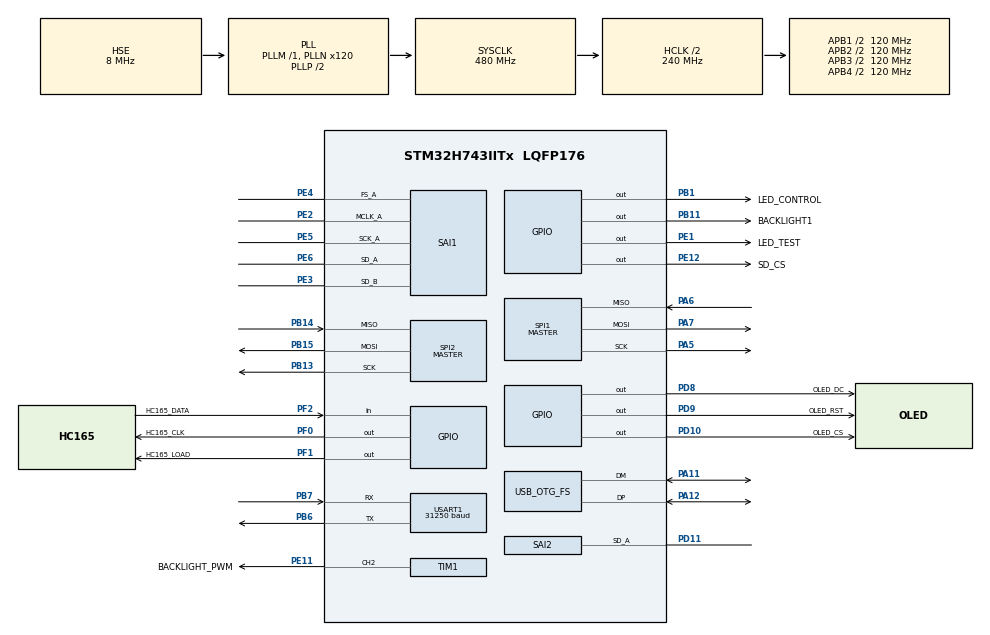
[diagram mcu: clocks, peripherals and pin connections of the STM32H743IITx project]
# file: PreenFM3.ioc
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CORTEX_M7.CPU_DCache=Enabled
CORTEX_M7.CPU_ICache=Enabled
DMA2D.ColorMode=DMA2D_OUTPUT_RGB565
DMA2D.InputAlphaForeground=0xffffff
DMA2D.InputColorModeBackground=DMA2D_INPUT_RGB565
DMA2D.InputColorModeForeground=DMA2D_INPUT_A8
DMA2D.Mode=DMA2D_M2M_BLEND
Dma.Request0=SPI1_TX
Dma.Request1=SAI1_A
Dma.Request2=SAI2_A
Dma.Request3=SAI1_B
Dma.Request4=USART1_RX
Dma.Request5=USART1_TX
Dma.SAI1_A.1.Direction=DMA_MEMORY_TO_PERIPH
Dma.SAI1_A.1.EventEnable=DISABLE
Dma.SAI1_A.1.FIFOMode=DMA_FIFOMODE_ENABLE
Dma.SAI1_A.1.FIFOThreshold=DMA_FIFO_THRESHOLD_1QUARTERFULL
Dma.SAI1_A.1.Instance=DMA1_Stream0
Dma.SAI1_A.1.MemBurst=DMA_MBURST_SINGLE
Dma.SAI1_A.1.MemDataAlignment=DMA_MDATAALIGN_WORD
Dma.SAI1_A.1.MemInc=DMA_MINC_ENABLE
Dma.SAI1_A.1.Mode=DMA_CIRCULAR
Dma.SAI1_A.1.PeriphBurst=DMA_PBURST_SINGLE
Dma.SAI1_A.1.PeriphDataAlignment=DMA_PDATAALIGN_WORD
Dma.SAI1_A.1.PeriphInc=DMA_PINC_DISABLE
Dma.SAI1_A.1.Polarity=HAL_DMAMUX_REQ_GEN_RISING
Dma.SAI1_A.1.Priority=DMA_PRIORITY_VERY_HIGH
Dma.SAI1_A.1.RequestNumber=1
Dma.SAI1_A.1.SignalID=NONE
Dma.SAI1_A.1.SyncEnable=DISABLE
Dma.SAI1_A.1.SyncPolarity=HAL_DMAMUX_SYNC_NO_EVENT
Dma.SAI1_A.1.SyncRequestNumber=1
Dma.SAI1_A.1.SyncSignalID=NONE
Dma.SAI1_B.3.Direction=DMA_MEMORY_TO_PERIPH
Dma.SAI1_B.3.EventEnable=DISABLE
Dma.SAI1_B.3.FIFOMode=DMA_FIFOMODE_ENABLE
Dma.SAI1_B.3.FIFOThreshold=DMA_FIFO_THRESHOLD_1QUARTERFULL
Dma.SAI1_B.3.Instance=DMA1_Stream1
Dma.SAI1_B.3.MemBurst=DMA_MBURST_SINGLE
Dma.SAI1_B.3.MemDataAlignment=DMA_MDATAALIGN_WORD
Dma.SAI1_B.3.MemInc=DMA_MINC_ENABLE
Dma.SAI1_B.3.Mode=DMA_CIRCULAR
Dma.SAI1_B.3.PeriphBurst=DMA_PBURST_SINGLE
Dma.SAI1_B.3.PeriphDataAlignment=DMA_PDATAALIGN_WORD
Dma.SAI1_B.3.PeriphInc=DMA_PINC_DISABLE
Dma.SAI1_B.3.Polarity=HAL_DMAMUX_REQ_GEN_RISING
Dma.SAI1_B.3.Priority=DMA_PRIORITY_VERY_HIGH
Dma.SAI1_B.3.RequestNumber=1
Dma.SAI1_B.3.SignalID=NONE
Dma.SAI1_B.3.SyncEnable=DISABLE
Dma.SAI1_B.3.SyncPolarity=HAL_DMAMUX_SYNC_NO_EVENT
Dma.SAI1_B.3.SyncRequestNumber=1
Dma.SAI1_B.3.SyncSignalID=NONE
Dma.SAI2_A.2.Direction=DMA_MEMORY_TO_PERIPH
Dma.SAI2_A.2.EventEnable=DISABLE
Dma.SAI2_A.2.FIFOMode=DMA_FIFOMODE_ENABLE
Dma.SAI2_A.2.FIFOThreshold=DMA_FIFO_THRESHOLD_1QUARTERFULL
Dma.SAI2_A.2.Instance=DMA1_Stream2
Dma.SAI2_A.2.MemBurst=DMA_MBURST_SINGLE
Dma.SAI2_A.2.MemDataAlignment=DMA_MDATAALIGN_WORD
Dma.SAI2_A.2.MemInc=DMA_MINC_ENABLE
Dma.SAI2_A.2.Mode=DMA_CIRCULAR
Dma.SAI2_A.2.PeriphBurst=DMA_PBURST_SINGLE
Dma.SAI2_A.2.PeriphDataAlignment=DMA_PDATAALIGN_WORD
Dma.SAI2_A.2.PeriphInc=DMA_PINC_DISABLE
Dma.SAI2_A.2.Polarity=HAL_DMAMUX_REQ_GEN_RISING
Dma.SAI2_A.2.Priority=DMA_PRIORITY_VERY_HIGH
Dma.SAI2_A.2.RequestNumber=1
Dma.SAI2_A.2.SignalID=NONE
Dma.SAI2_A.2.SyncEnable=DISABLE
Dma.SAI2_A.2.SyncPolarity=HAL_DMAMUX_SYNC_NO_EVENT
Dma.SAI2_A.2.SyncRequestNumber=1
Dma.SAI2_A.2.SyncSignalID=NONE
Dma.SPI1_TX.0.Direction=DMA_MEMORY_TO_PERIPH
Dma.SPI1_TX.0.EventEnable=DISABLE
Dma.SPI1_TX.0.FIFOMode=DMA_FIFOMODE_ENABLE
Dma.SPI1_TX.0.FIFOThreshold=DMA_FIFO_THRESHOLD_HALFFULL
Dma.SPI1_TX.0.Instance=DMA2_Stream0
Dma.SPI1_TX.0.MemBurst=DMA_MBURST_SINGLE
Dma.SPI1_TX.0.MemDataAlignment=DMA_MDATAALIGN_HALFWORD
Dma.SPI1_TX.0.MemInc=DMA_MINC_ENABLE
Dma.SPI1_TX.0.Mode=DMA_NORMAL
Dma.SPI1_TX.0.PeriphBurst=DMA_PBURST_SINGLE
Dma.SPI1_TX.0.PeriphDataAlignment=DMA_PDATAALIGN_HALFWORD
Dma.SPI1_TX.0.PeriphInc=DMA_PINC_DISABLE
Dma.SPI1_TX.0.Polarity=HAL_DMAMUX_REQ_GEN_RISING
Dma.SPI1_TX.0.Priority=DMA_PRIORITY_HIGH
Dma.SPI1_TX.0.RequestNumber=1
Dma.SPI1_TX.0.SignalID=NONE
Dma.SPI1_TX.0.SyncEnable=DISABLE
Dma.SPI1_TX.0.SyncPolarity=HAL_DMAMUX_SYNC_NO_EVENT
Dma.SPI1_TX.0.SyncRequestNumber=1
Dma.SPI1_TX.0.SyncSignalID=NONE
Dma.USART1_RX.4.Direction=DMA_PERIPH_TO_MEMORY
Dma.USART1_RX.4.EventEnable=DISABLE
Dma.USART1_RX.4.FIFOMode=DMA_FIFOMODE_DISABLE
Dma.USART1_RX.4.Instance=DMA1_Stream3
Dma.USART1_RX.4.MemDataAlignment=DMA_MDATAALIGN_BYTE
Dma.USART1_RX.4.MemInc=DMA_MINC_ENABLE
Dma.USART1_RX.4.Mode=DMA_NORMAL
Dma.USART1_RX.4.PeriphDataAlignment=DMA_PDATAALIGN_BYTE
Dma.USART1_RX.4.PeriphInc=DMA_PINC_DISABLE
Dma.USART1_RX.4.Polarity=HAL_DMAMUX_REQ_GEN_RISING
Dma.USART1_RX.4.Priority=DMA_PRIORITY_LOW
Dma.USART1_RX.4.RequestNumber=1
Dma.USART1_RX.4.SignalID=NONE
Dma.USART1_RX.4.SyncEnable=DISABLE
Dma.USART1_RX.4.SyncPolarity=HAL_DMAMUX_SYNC_NO_EVENT
Dma.USART1_RX.4.SyncRequestNumber=1
Dma.USART1_RX.4.SyncSignalID=NONE
Dma.USART1_TX.5.Direction=DMA_MEMORY_TO_PERIPH
Dma.USART1_TX.5.EventEnable=DISABLE
Dma.USART1_TX.5.FIFOMode=DMA_FIFOMODE_DISABLE
Dma.USART1_TX.5.Instance=DMA1_Stream4
Dma.USART1_TX.5.MemDataAlignment=DMA_MDATAALIGN_BYTE
Dma.USART1_TX.5.MemInc=DMA_MINC_ENABLE
Dma.USART1_TX.5.Mode=DMA_NORMAL
Dma.USART1_TX.5.PeriphDataAlignment=DMA_PDATAALIGN_BYTE
Dma.USART1_TX.5.PeriphInc=DMA_PINC_DISABLE
Dma.USART1_TX.5.Polarity=HAL_DMAMUX_REQ_GEN_RISING
Dma.USART1_TX.5.Priority=DMA_PRIORITY_LOW
Dma.USART1_TX.5.RequestNumber=1
Dma.USART1_TX.5.SignalID=NONE
Dma.USART1_TX.5.SyncEnable=DISABLE
Dma.USART1_TX.5.SyncPolarity=HAL_DMAMUX_SYNC_NO_EVENT
Dma.USART1_TX.5.SyncRequestNumber=1
Dma.USART1_TX.5.SyncSignalID=NONE
FREERTOS.INCLUDE_vTaskDelayUntil=1
FREERTOS.Tasks01=defaultTask,0,1024,StartDefaultTask,Default,NULL,Dynamic,NULL,NULL
FREERTOS.configCHECK_FOR_STACK_OVERFLOW=2
FREERTOS.configTOTAL_HEAP_SIZE=15360
FREERTOS.configUSE_MALLOC_FAILED_HOOK=1
FREERTOS.configUSE_MUTEXES=0
FREERTOS.configUSE_PREEMPTION=0
IWDG1.Prescaler=IWDG_PRESCALER_128
IWDG1.Reload=8*32000/128
IWDG1.Window=8*32000/128
Mcu.Family=STM32H7
Mcu.Name=STM32H743IITx
Mcu.Package=LQFP176
Mdma.MDMA_Channel0.Request0=SW
Mdma.MDMA_Channel0.RequestsNb=1
Mdma.MDMA_Channel0.SW.0.BlockCount=0
Mdma.MDMA_Channel0.SW.0.BlockDataLength=0
Mdma.MDMA_Channel0.SW.0.BufferTransferLength=1
Mdma.MDMA_Channel0.SW.0.CircularMode=MDMA_LINEAR_LIST
Mdma.MDMA_Channel0.SW.0.DataAlignment=MDMA_DATAALIGN_PACKENABLE
Mdma.MDMA_Channel0.SW.0.DestBlockAddressOffset=0
Mdma.MDMA_Channel0.SW.0.DestBurst=MDMA_DEST_BURST_SINGLE
Mdma.MDMA_Channel0.SW.0.DestDataSize=MDMA_DEST_DATASIZE_BYTE
Mdma.MDMA_Channel0.SW.0.DestinationInc=MDMA_DEST_INC_BYTE
Mdma.MDMA_Channel0.SW.0.DstAddress=0
Mdma.MDMA_Channel0.SW.0.Endianness=MDMA_LITTLE_ENDIANNESS_PRESERVE
Mdma.MDMA_Channel0.SW.0.Instance=MDMA_Channel0
Mdma.MDMA_Channel0.SW.0.MaskAddress=0
Mdma.MDMA_Channel0.SW.0.MaskData=0
Mdma.MDMA_Channel0.SW.0.Priority=MDMA_PRIORITY_LOW
Mdma.MDMA_Channel0.SW.0.Rank=First
Mdma.MDMA_Channel0.SW.0.SourceBlockAddressOffset=0
Mdma.MDMA_Channel0.SW.0.SourceBurst=MDMA_SOURCE_BURST_SINGLE
Mdma.MDMA_Channel0.SW.0.SourceDataSize=MDMA_SRC_DATASIZE_BYTE
Mdma.MDMA_Channel0.SW.0.SourceInc=MDMA_SRC_INC_BYTE
Mdma.MDMA_Channel0.SW.0.SrcAddress=0
Mdma.MDMA_Channel0.SW.0.TransferTriggerMode=MDMA_BUFFER_TRANSFER
Mdma.RequestSet0=MDMA_Channel0
Mdma.RequestSetsNb=1
NVIC.DMA1_Stream0_IRQn=true\:5\:0\:true\:false\:true\:true\:false\:true
NVIC.DMA1_Stream1_IRQn=true\:5\:0\:true\:false\:true\:true\:false\:true
NVIC.DMA1_Stream2_IRQn=true\:5\:0\:true\:false\:true\:true\:false\:true
NVIC.DMA1_Stream3_IRQn=true\:5\:0\:false\:false\:true\:true\:false\:true
NVIC.DMA1_Stream4_IRQn=true\:5\:0\:false\:false\:true\:true\:false\:true
NVIC.DMA2_Stream0_IRQn=true\:5\:0\:true\:false\:true\:true\:false\:true
NVIC.OTG_FS_IRQn=true\:5\:0\:true\:false\:true\:true\:true\:true
NVIC.PriorityGroup=NVIC_PRIORITYGROUP_4
NVIC.SPI1_IRQn=true\:8\:0\:true\:false\:true\:true\:false\:true
NVIC.USART1_IRQn=true\:5\:0\:false\:false\:true\:true\:true\:true
PA11.Mode=Device_Only
PA11.Signal=USB_OTG_FS_DM
PA12.Mode=Device_Only
PA12.Signal=USB_OTG_FS_DP
PA13\ (JTMS/SWDIO).Mode=JTAG_5_pins
PA13\ (JTMS/SWDIO).Signal=DEBUG_JTMS-SWDIO
PA14\ (JTCK/SWCLK).Mode=JTAG_5_pins
PA14\ (JTCK/SWCLK).Signal=DEBUG_JTCK-SWCLK
PA15\ (JTDI).Mode=JTAG_5_pins
PA15\ (JTDI).Signal=DEBUG_JTDI
PA5.GPIO_Speed=GPIO_SPEED_FREQ_VERY_HIGH
PA5.Mode=Full_Duplex_Master
PA5.Signal=SPI1_SCK
PA6.GPIO_Speed=GPIO_SPEED_FREQ_VERY_HIGH
PA6.Mode=Full_Duplex_Master
PA6.Signal=SPI1_MISO
PA7.GPIO_Speed=GPIO_SPEED_FREQ_VERY_HIGH
PA7.Mode=Full_Duplex_Master
PA7.Signal=SPI1_MOSI
PB1.GPIO_Label=LED_CONTROL
PB1.Signal=GPIO_Output
PB11.GPIO_Label=BACKLIGHT1
PB11.GPIO_PuPd=GPIO_NOPULL
PB11.Signal=GPIO_Output
PB13.Mode=Full_Duplex_Master
PB13.Signal=SPI2_SCK
PB14.Mode=Full_Duplex_Master
PB14.Signal=SPI2_MISO
PB15.Mode=Full_Duplex_Master
PB15.Signal=SPI2_MOSI
PB3\ (JTDO/TRACESWO).Mode=JTAG_5_pins
PB3\ (JTDO/TRACESWO).Signal=DEBUG_JTDO-SWO
PB4\ (NJTRST).Mode=JTAG_5_pins
PB4\ (NJTRST).Signal=DEBUG_JTRST
PB6.Mode=Asynchronous
PB6.Signal=USART1_TX
PB7.Mode=Asynchronous
PB7.Signal=USART1_RX
PD10.GPIO_Label=OLED_CS
PD10.GPIO_Speed=GPIO_SPEED_FREQ_MEDIUM
PD10.Signal=GPIO_Output
PD11.GPIO_Speed=GPIO_SPEED_FREQ_MEDIUM
PD11.Mode=SAI_A_SyncSlave
PD11.Signal=SAI2_SD_A
PD8.GPIO_Label=OLED_DC
PD8.GPIO_Speed=GPIO_SPEED_FREQ_MEDIUM
PD8.Signal=GPIO_Output
PD9.GPIO_Label=OLED_RST
PD9.GPIO_Speed=GPIO_SPEED_FREQ_MEDIUM
PD9.PinState=GPIO_PIN_SET
PD9.Signal=GPIO_Output
PE1.GPIO_Label=LED_TEST
PE1.GPIO_Speed=GPIO_SPEED_FREQ_VERY_HIGH
PE1.Signal=GPIO_Output
PE11.GPIO_Label=BACKLIGHT_PWM
PE11.Signal=S_TIM1_CH2
PE12.GPIO_Label=SD_CS
PE12.GPIO_Speed=GPIO_SPEED_FREQ_VERY_HIGH
PE12.Signal=GPIO_Output
PE2.GPIO_Speed=GPIO_SPEED_FREQ_MEDIUM
PE2.Mode=SAI_A_MasterWithClock
PE2.Signal=SAI1_MCLK_A
PE3.GPIO_Speed=GPIO_SPEED_FREQ_MEDIUM
PE3.Mode=SAI_B_SyncSlave
PE3.Signal=SAI1_SD_B
PE4.GPIO_Speed=GPIO_SPEED_FREQ_MEDIUM
PE4.Mode=SAI_A_MasterWithClock
PE4.Signal=SAI1_FS_A
PE5.GPIO_Speed=GPIO_SPEED_FREQ_MEDIUM
PE5.Mode=SAI_A_MasterWithClock
PE5.Signal=SAI1_SCK_A
PE6.GPIO_Speed=GPIO_SPEED_FREQ_MEDIUM
PE6.Mode=SAI_A_MasterWithClock
PE6.Signal=SAI1_SD_A
PF0.GPIO_Label=HC165_CLK
PF0.GPIO_Speed=GPIO_SPEED_FREQ_MEDIUM
PF0.Signal=GPIO_Output
PF1.GPIO_Label=HC165_LOAD
PF1.GPIO_Speed=GPIO_SPEED_FREQ_MEDIUM
PF1.Signal=GPIO_Output
PF2.GPIO_Label=HC165_DATA
PF2.Signal=GPIO_Input
PH0-OSC_IN\ (PH0).Mode=HSE-External-Oscillator
PH0-OSC_IN\ (PH0).Signal=RCC_OSC_IN
PH1-OSC_OUT\ (PH1).Mode=HSE-External-Oscillator
PH1-OSC_OUT\ (PH1).Signal=RCC_OSC_OUT
ProjectManager.HeapSize=0x200
ProjectManager.StackSize=0x400
ProjectManager.TargetToolchain=Makefile
RCC.ADCFreq_Value=80000000
RCC.APB1Freq_Value=120000000
RCC.APB2Freq_Value=120000000
RCC.APB3Freq_Value=120000000
RCC.APB4Freq_Value=120000000
RCC.CortexFreq_Value=480000000
RCC.D1PPRE=RCC_APB3_DIV2
RCC.D2PPRE1=RCC_APB1_DIV2
RCC.D2PPRE2=RCC_APB2_DIV2
RCC.D3PPRE=RCC_APB4_DIV2
RCC.DIVM1=1
RCC.DIVM2=1
RCC.DIVM3=1
RCC.DIVN1=120
RCC.DIVN2=40
RCC.DIVN3=46
RCC.DIVP2=4
RCC.DIVP3=3
RCC.DIVQ2=40
RCC.HCLKFreq_Value=240000000
RCC.HPRE=RCC_HCLK_DIV2
RCC.HSE_VALUE=8000000
RCC.PLL2FRACN=0
RCC.PLL3FRACN=0
RCC.PLLSourceVirtual=RCC_PLLSOURCE_HSE
RCC.SAI1CLockSelection=RCC_SAI1CLKSOURCE_PLL3
RCC.SAI23CLockSelection=RCC_SAI23CLKSOURCE_PLL3
RCC.SPI123CLockSelection=RCC_SPI123CLKSOURCE_PLL3
RCC.SYSCLKFreq_VALUE=480000000
RCC.SYSCLKSource=RCC_SYSCLKSOURCE_PLLCLK
RCC.USART16CLockSelection=RCC_USART16CLKSOURCE_PLL2
RCC.USBCLockSelection=RCC_USBCLKSOURCE_HSI48
RCC.USBFreq_Value=48000000
SAI1.AudioFrequency-SAI_A_MasterWithClock=SAI_AUDIO_FREQUENCY_48K
SAI1.AudioMode-SAI_B_SyncSlave=SAI_MODESLAVE_TX
SAI1.BasicDataSize-SAI_A_MasterWithClock=SAI_PROTOCOL_DATASIZE_24BIT
SAI1.BasicDataSize-SAI_B_SyncSlave=SAI_PROTOCOL_DATASIZE_24BIT
SAI1.ErrorAudioFreq-SAI_A_MasterWithClock=-0.17 %
SAI1.FIFOThreshold-SAI_A_MasterWithClock=SAI_FIFOTHRESHOLD_1QF
SAI1.FIFOThreshold-SAI_B_SyncSlave=SAI_FIFOTHRESHOLD_1QF
SAI1.InitProtocol-SAI_A_MasterWithClock=Enable
SAI1.InitProtocol-SAI_B_SyncSlave=Enable
SAI1.Instance-SAI_A_MasterWithClock=SAI$Index_Block_A
SAI1.Instance-SAI_B_SyncSlave=SAI$Index_Block_B
SAI1.MClockEnable=SAI_MASTERCLOCK_ENABLE
SAI1.MClockEnable-SAI_A_MasterWithClock=SAI_MASTERCLOCK_ENABLE
SAI1.NoDivider-SAI_A_MasterWithClock=SAI_MASTERDIVIDER_ENABLE
SAI1.RealAudioFreq-SAI_A_MasterWithClock=47.916 KHz
SAI1.SynchroExt=SAI_SYNCEXT_OUTBLOCKA_ENABLE
SAI1.VirtualMode-SAI_A_MasterWithClock=VM_MASTER
SAI1.VirtualMode-SAI_B_SyncSlave=VM_SLAVE
SAI1.VirtualProtocol-SAI_A_BASIC=VM_BASIC_PROTOCOL
SAI1.VirtualProtocol-SAI_B_BASIC=VM_BASIC_PROTOCOL
SAI2.AudioMode-SAI_A_SyncSlave=SAI_MODESLAVE_TX
SAI2.BasicDataSize-SAI_A_SyncSlave=SAI_PROTOCOL_DATASIZE_24BIT
SAI2.FIFOThreshold-SAI_A_SyncSlave=SAI_FIFOTHRESHOLD_1QF
SAI2.InitProtocol-SAI_A_SyncSlave=Enable
SAI2.Instance-SAI_A_SyncSlave=SAI$Index_Block_A
SAI2.Synchro_A=SAI_SYNCHRONOUS_EXT_SAI1
SAI2.VirtualMode-SAI_A_SyncSlave=VM_SLAVE
SAI2.VirtualProtocol-SAI_A_BASIC=VM_BASIC_PROTOCOL
SH.S_TIM1_CH2.0=TIM1_CH2,PWM Generation2 CH2
SPI1.BaudRatePrescaler=SPI_BAUDRATEPRESCALER_2
SPI1.CalculateBaudRate=61.333332 MBits/s
SPI1.DataSize=SPI_DATASIZE_8BIT
SPI1.Direction=SPI_DIRECTION_2LINES
SPI1.Mode=SPI_MODE_MASTER
SPI1.VirtualType=VM_MASTER
SPI2.BaudRatePrescaler=SPI_BAUDRATEPRESCALER_4
SPI2.CLKPhase=SPI_PHASE_2EDGE
SPI2.CalculateBaudRate=30.666666 MBits/s
SPI2.DataSize=SPI_DATASIZE_8BIT
SPI2.Direction=SPI_DIRECTION_2LINES
SPI2.Mode=SPI_MODE_MASTER
SPI2.NSSPMode=SPI_NSS_PULSE_DISABLE
SPI2.VirtualType=VM_MASTER
TIM1.Channel-PWM\ Generation2\ CH2=TIM_CHANNEL_2
TIM1.ClockDivision=TIM_CLOCKDIVISION_DIV1
TIM1.Period=100
TIM1.Prescaler=240
TIM1.Pulse-PWM\ Generation2\ CH2=50
USART1.BaudRate=31250
USART1.DMADisableonRxErrorParam=ADVFEATURE_DMA_DISABLEONRXERROR
USART1.OverrunDisableParam=ADVFEATURE_OVERRUN_DISABLE
USART1.VirtualMode-Asynchronous=VM_ASYNC
USB_OTG_FS.VirtualMode=Device_Only
VP_DMA2D_VS_DMA2D.Mode=DMA2D_Activate
VP_FREERTOS_VS_CMSIS_V1.Mode=CMSIS_V1
VP_IWDG1_VS_IWDG.Mode=IWDG_Activate
VP_SAI1_VP_$IpInstance_SAIA_SAI_BASIC.Mode=SAI_A_BASIC
VP_SAI1_VP_$IpInstance_SAIB_SAI_BASIC.Mode=SAI_B_BASIC
VP_SAI1_VP_$IpInstance_SYNCHRO_EXTERNAL.Mode=SynchroExternal
VP_SAI2_VP_$IpInstance_SAIA_SAI_BASIC.Mode=SAI_A_BASIC
board=custom

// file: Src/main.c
/* USER CODE BEGIN Header */
/**
  ******************************************************************************
  * @file           : main.c
  * @brief          : Main program body
  ******************************************************************************
  * @attention
  *
  * <h2><center>&copy; Copyright (c) 2020 STMicroelectronics.
  * All rights reserved.</center></h2>
  *
  * This software component is licensed by ST under Ultimate Liberty license
  * SLA0044, the "License"; You may not use this file except in compliance with
  * the License. You may obtain a copy of the License at:
  *                             www.st.com/SLA0044
  *
  ******************************************************************************
  */
/* USER CODE END Header */
#include "main.h"
#include "cmsis_os.h"

/* USER CODE BEGIN Includes */
#include "device.h"
#include "errorhandlers.h"
#include "usb_device.h"
/* USER CODE END Includes */

DMA2D_HandleTypeDef hdma2d;

IWDG_HandleTypeDef hiwdg1;

SAI_HandleTypeDef hsai_BlockA1;
SAI_HandleTypeDef hsai_BlockB1;
SAI_HandleTypeDef hsai_BlockA2;
DMA_HandleTypeDef hdma_sai1_a;
DMA_HandleTypeDef hdma_sai1_b;
DMA_HandleTypeDef hdma_sai2_a;

SPI_HandleTypeDef hspi1;
SPI_HandleTypeDef hspi2;
DMA_HandleTypeDef hdma_spi1_tx;

TIM_HandleTypeDef htim1;

UART_HandleTypeDef huart1;
DMA_HandleTypeDef hdma_usart1_rx;
DMA_HandleTypeDef hdma_usart1_tx;

extern PCD_HandleTypeDef hpcd_USB_OTG_FS;

MDMA_HandleTypeDef hmdma_mdma_channel40_sw_0;
osThreadId defaultTaskHandle;

void SystemClock_Config(void);
void PeriphCommonClock_Config(void);
static void MX_GPIO_Init(void);
static void MX_DMA_Init(void);
static void MX_MDMA_Init(void);
static void MX_DMA2D_Init(void);
static void MX_SAI1_Init(void);
static void MX_SAI2_Init(void);
static void MX_SPI1_Init(void);
static void MX_SPI2_Init(void);
static void MX_USART1_UART_Init(void);
static void MX_IWDG1_Init(void);
static void MX_USB_OTG_FS_PCD_Init(void);
static void MX_TIM1_Init(void);
void StartDefaultTask(void const * argument);

/* USER CODE BEGIN PFP */
void setup(void);
void loop(void);
void initialise_monitor_handles(void);

/* USER CODE END PFP */

/* USER CODE BEGIN 0 */
void MPU_Config(void){
  /* Disable the MPU */
  HAL_MPU_Disable();

#if defined USE_ICACHE || defined USE_DCACHE
  MPU_Region_InitTypeDef MPU_InitStruct;

  // AXISRAM D1 (+RAM) - write back with no write allocate, execute
  extern char _PLUSRAM;
  MPU_InitStruct.Enable           = MPU_REGION_ENABLE;
  MPU_InitStruct.BaseAddress      = (uint32_t)&_PLUSRAM ;
  MPU_InitStruct.Size             = MPU_REGION_SIZE_512KB;
  MPU_InitStruct.AccessPermission = MPU_REGION_FULL_ACCESS;
  MPU_InitStruct.IsBufferable     = MPU_ACCESS_BUFFERABLE;
  MPU_InitStruct.IsCacheable      = MPU_ACCESS_CACHEABLE;
  MPU_InitStruct.IsShareable      = MPU_ACCESS_NOT_SHAREABLE;
  MPU_InitStruct.Number           = MPU_REGION_NUMBER0;
  MPU_InitStruct.TypeExtField     = MPU_TEX_LEVEL0;
  MPU_InitStruct.SubRegionDisable = 0x00;
  MPU_InitStruct.DisableExec      = MPU_INSTRUCTION_ACCESS_ENABLE;
  HAL_MPU_ConfigRegion(&MPU_InitStruct);

  // D2 DMA buffers - cache off, no execute
  extern char _DMA_DATA;
  MPU_InitStruct.Enable           = MPU_REGION_ENABLE;
  MPU_InitStruct.BaseAddress      = (uint32_t)&_DMA_DATA;
  MPU_InitStruct.Size             = MPU_REGION_SIZE_16KB;
  MPU_InitStruct.AccessPermission = MPU_REGION_FULL_ACCESS;
  MPU_InitStruct.IsBufferable     = MPU_ACCESS_NOT_BUFFERABLE;
  MPU_InitStruct.IsCacheable      = MPU_ACCESS_NOT_CACHEABLE;
  MPU_InitStruct.IsShareable      = MPU_ACCESS_SHAREABLE;
  MPU_InitStruct.Number           = MPU_REGION_NUMBER1;
  MPU_InitStruct.TypeExtField     = MPU_TEX_LEVEL1;
  MPU_InitStruct.SubRegionDisable = 0x00;
  MPU_InitStruct.DisableExec      = MPU_INSTRUCTION_ACCESS_DISABLE;
  HAL_MPU_ConfigRegion(&MPU_InitStruct);

  extern char _GRAPHICS;
  MPU_InitStruct.Enable           = MPU_REGION_ENABLE;
  MPU_InitStruct.BaseAddress      = (uint32_t)&_GRAPHICS;
  MPU_InitStruct.Size             = MPU_REGION_SIZE_128KB;
  MPU_InitStruct.AccessPermission = MPU_REGION_FULL_ACCESS;
  MPU_InitStruct.IsBufferable     = MPU_ACCESS_NOT_BUFFERABLE;
  MPU_InitStruct.IsCacheable      = MPU_ACCESS_NOT_CACHEABLE;
  MPU_InitStruct.IsShareable      = MPU_ACCESS_SHAREABLE;
  MPU_InitStruct.Number           = MPU_REGION_NUMBER2;
  MPU_InitStruct.TypeExtField     = MPU_TEX_LEVEL1;
  MPU_InitStruct.SubRegionDisable = 0b10000000; // 110KB is sufficient
  MPU_InitStruct.DisableExec      = MPU_INSTRUCTION_ACCESS_DISABLE;
  HAL_MPU_ConfigRegion(&MPU_InitStruct);

#endif /* USE_ICACHE || USE_DCACHE */

  /* Enable the MPU */
  HAL_MPU_Enable(MPU_PRIVILEGED_DEFAULT);
}
/* USER CODE END 0 */

int main(void)
{
  /* USER CODE BEGIN 1 */

#ifdef DEBUG
#warning "DEBUG uses printf and semihosting!"
  if(CoreDebug->DHCSR & 0x01)
    initialise_monitor_handles(); // remove when not semi-hosting
  printf("showtime\n");
#endif
#ifdef USE_ICACHE
  /* Enable I-Cache-------------------------------------------------------------*/
  /* After reset, you must invalidate each cache before enabling (SCB_EnableICache) it. */
  SCB_EnableICache();
#endif
#ifdef USE_DCACHE
  /* Enable D-Cache-------------------------------------------------------------*/
  /* Before enabling the data cache, you must invalidate the entire data cache (SCB_InvalidateDCache), because external memory might have changed from when the cache was disabled. */
  SCB_EnableDCache();
#endif

  /* Enable D2 domain SRAM Clocks */
  __HAL_RCC_D2SRAM1_CLK_ENABLE();
  __HAL_RCC_D2SRAM2_CLK_ENABLE();
  __HAL_RCC_D2SRAM3_CLK_ENABLE();

#if 0
  /* USER CODE END 1 */

  /* Enable I-Cache---------------------------------------------------------*/
  SCB_EnableICache();

  /* Enable D-Cache---------------------------------------------------------*/
  SCB_EnableDCache();

  /* MCU Configuration--------------------------------------------------------*/

  /* Reset of all peripherals, Initializes the Flash interface and the Systick. */
  HAL_Init();

  /* USER CODE BEGIN Init */
#endif
  HAL_Init();
  /* USER CODE END Init */

  /* USER CODE BEGIN SysInit */

  /* Configure the system clock */
  SystemClock_Config();
  PeriphCommonClock_Config();

  /* MPU Configuration--------------------------------------------------------*/
  MPU_Config();

  /* USER CODE END SysInit */

  /* Initialize all configured peripherals */
  MX_GPIO_Init();
  MX_DMA_Init();
  MX_DMA2D_Init();
  MX_SAI1_Init();
  MX_SAI2_Init();
  MX_SPI1_Init();
  MX_SPI2_Init();
  MX_USART1_UART_Init();
  MX_IWDG1_Init();
  MX_USB_OTG_FS_PCD_Init();
  MX_TIM1_Init();

  /* Create the thread(s) */
  /* definition and creation of defaultTask */
  osThreadDef(defaultTask, StartDefaultTask, osPriorityNormal, 0, 1024);
  defaultTaskHandle = osThreadCreate(osThread(defaultTask), NULL);

  /* Start scheduler */
  osKernelStart();

  /* We should never get here as control is now taken by the scheduler */
  /* Infinite loop */
  while (1)
  {

  }
}

void SystemClock_Config(void)
{
  RCC_OscInitTypeDef RCC_OscInitStruct = {0};
  RCC_ClkInitTypeDef RCC_ClkInitStruct = {0};

  /** Supply configuration update enable
  */
  HAL_PWREx_ConfigSupply(PWR_LDO_SUPPLY);
  /** Configure the main internal regulator output voltage
  */
  __HAL_PWR_VOLTAGESCALING_CONFIG(PWR_REGULATOR_VOLTAGE_SCALE0);

  while(!__HAL_PWR_GET_FLAG(PWR_FLAG_VOSRDY)) {}
  /** Macro to configure the PLL clock source
  */
  __HAL_RCC_PLL_PLLSOURCE_CONFIG(RCC_PLLSOURCE_HSE);
  /** Initializes the RCC Oscillators according to the specified parameters
  * in the RCC_OscInitTypeDef structure.
  */
  RCC_OscInitStruct.OscillatorType = RCC_OSCILLATORTYPE_HSI48|RCC_OSCILLATORTYPE_LSI
                              |RCC_OSCILLATORTYPE_HSE;
  RCC_OscInitStruct.HSEState = RCC_HSE_ON;
  RCC_OscInitStruct.LSIState = RCC_LSI_ON;
  RCC_OscInitStruct.HSI48State = RCC_HSI48_ON;
  RCC_OscInitStruct.PLL.PLLState = RCC_PLL_ON;
  RCC_OscInitStruct.PLL.PLLSource = RCC_PLLSOURCE_HSE;
  RCC_OscInitStruct.PLL.PLLM = 1;
  RCC_OscInitStruct.PLL.PLLN = 120;
  RCC_OscInitStruct.PLL.PLLP = 2;
  RCC_OscInitStruct.PLL.PLLQ = 2;
  RCC_OscInitStruct.PLL.PLLR = 2;
  RCC_OscInitStruct.PLL.PLLRGE = RCC_PLL1VCIRANGE_3;
  RCC_OscInitStruct.PLL.PLLVCOSEL = RCC_PLL1VCOWIDE;
  RCC_OscInitStruct.PLL.PLLFRACN = 0;
  if (HAL_RCC_OscConfig(&RCC_OscInitStruct) != HAL_OK)
  {
    Error_Handler();
  }
  /** Initializes the CPU, AHB and APB buses clocks
  */
  RCC_ClkInitStruct.ClockType = RCC_CLOCKTYPE_HCLK|RCC_CLOCKTYPE_SYSCLK
                              |RCC_CLOCKTYPE_PCLK1|RCC_CLOCKTYPE_PCLK2
                              |RCC_CLOCKTYPE_D3PCLK1|RCC_CLOCKTYPE_D1PCLK1;
  RCC_ClkInitStruct.SYSCLKSource = RCC_SYSCLKSOURCE_PLLCLK;
  RCC_ClkInitStruct.SYSCLKDivider = RCC_SYSCLK_DIV1;
  RCC_ClkInitStruct.AHBCLKDivider = RCC_HCLK_DIV2;
  RCC_ClkInitStruct.APB3CLKDivider = RCC_APB3_DIV2;
  RCC_ClkInitStruct.APB1CLKDivider = RCC_APB1_DIV2;
  RCC_ClkInitStruct.APB2CLKDivider = RCC_APB2_DIV2;
  RCC_ClkInitStruct.APB4CLKDivider = RCC_APB4_DIV2;

  if (HAL_RCC_ClockConfig(&RCC_ClkInitStruct, FLASH_LATENCY_4) != HAL_OK)
  {
    Error_Handler();
  }
}

void PeriphCommonClock_Config(void)
{
  RCC_PeriphCLKInitTypeDef PeriphClkInitStruct = {0};

  /** Initializes the peripherals clock
  */
  PeriphClkInitStruct.PeriphClockSelection = RCC_PERIPHCLK_SAI1|RCC_PERIPHCLK_SAI2
                              |RCC_PERIPHCLK_SPI2|RCC_PERIPHCLK_SPI1;
  PeriphClkInitStruct.PLL3.PLL3M = 1;
  PeriphClkInitStruct.PLL3.PLL3N = 46;
  PeriphClkInitStruct.PLL3.PLL3P = 3;
  PeriphClkInitStruct.PLL3.PLL3Q = 2;
  PeriphClkInitStruct.PLL3.PLL3R = 2;
  PeriphClkInitStruct.PLL3.PLL3RGE = RCC_PLL3VCIRANGE_3;
  PeriphClkInitStruct.PLL3.PLL3VCOSEL = RCC_PLL3VCOWIDE;
  PeriphClkInitStruct.PLL3.PLL3FRACN = 0;
  PeriphClkInitStruct.Sai1ClockSelection = RCC_SAI1CLKSOURCE_PLL3;
  PeriphClkInitStruct.Sai23ClockSelection = RCC_SAI23CLKSOURCE_PLL3;
  PeriphClkInitStruct.Spi123ClockSelection = RCC_SPI123CLKSOURCE_PLL3;
  if (HAL_RCCEx_PeriphCLKConfig(&PeriphClkInitStruct) != HAL_OK)
  {
    Error_Handler();
  }
}

static void MX_DMA2D_Init(void)
{

  hdma2d.Instance = DMA2D;
  hdma2d.Init.Mode = DMA2D_M2M_BLEND;
  hdma2d.Init.ColorMode = DMA2D_OUTPUT_RGB565;
  hdma2d.Init.OutputOffset = 0;
  hdma2d.LayerCfg[1].InputOffset = 0;
  hdma2d.LayerCfg[1].InputColorMode = DMA2D_INPUT_A8;
  hdma2d.LayerCfg[1].AlphaMode = DMA2D_NO_MODIF_ALPHA;
  hdma2d.LayerCfg[1].InputAlpha = 0xffffff;
  hdma2d.LayerCfg[1].AlphaInverted = DMA2D_REGULAR_ALPHA;
  hdma2d.LayerCfg[1].RedBlueSwap = DMA2D_RB_REGULAR;
  hdma2d.LayerCfg[1].ChromaSubSampling = DMA2D_NO_CSS;
  hdma2d.LayerCfg[0].InputOffset = 0;
  hdma2d.LayerCfg[0].InputColorMode = DMA2D_INPUT_RGB565;
  hdma2d.LayerCfg[0].AlphaMode = DMA2D_NO_MODIF_ALPHA;
  hdma2d.LayerCfg[0].InputAlpha = 0;
  hdma2d.LayerCfg[0].AlphaInverted = DMA2D_REGULAR_ALPHA;
  hdma2d.LayerCfg[0].RedBlueSwap = DMA2D_RB_REGULAR;
  if (HAL_DMA2D_Init(&hdma2d) != HAL_OK)
  {
    Error_Handler();
  }
  if (HAL_DMA2D_ConfigLayer(&hdma2d, 0) != HAL_OK)
  {
    Error_Handler();
  }
  if (HAL_DMA2D_ConfigLayer(&hdma2d, 1) != HAL_OK)
  {
    Error_Handler();
  }

}

static void MX_IWDG1_Init(void)
{

  /* USER CODE BEGIN IWDG1_Init 0 */
#ifdef USE_IWDG
  /* USER CODE END IWDG1_Init 0 */

  hiwdg1.Instance = IWDG1;
  hiwdg1.Init.Prescaler = IWDG_PRESCALER_128;
  hiwdg1.Init.Window = 8*32000/128;
  hiwdg1.Init.Reload = 8*32000/128;
  if (HAL_IWDG_Init(&hiwdg1) != HAL_OK)
  {
    Error_Handler();
  }
  /* USER CODE BEGIN IWDG1_Init 2 */
#endif
  /* USER CODE END IWDG1_Init 2 */

}

static void MX_SAI1_Init(void)
{

  hsai_BlockA1.Instance = SAI1_Block_A;
  hsai_BlockA1.Init.AudioMode = SAI_MODEMASTER_TX;
  hsai_BlockA1.Init.Synchro = SAI_ASYNCHRONOUS;
  hsai_BlockA1.Init.OutputDrive = SAI_OUTPUTDRIVE_DISABLE;
  hsai_BlockA1.Init.NoDivider = SAI_MASTERDIVIDER_ENABLE;
  hsai_BlockA1.Init.FIFOThreshold = SAI_FIFOTHRESHOLD_1QF;
  hsai_BlockA1.Init.AudioFrequency = SAI_AUDIO_FREQUENCY_48K;
  hsai_BlockA1.Init.SynchroExt = SAI_SYNCEXT_OUTBLOCKA_ENABLE;
  hsai_BlockA1.Init.MonoStereoMode = SAI_STEREOMODE;
  hsai_BlockA1.Init.CompandingMode = SAI_NOCOMPANDING;
  hsai_BlockA1.Init.TriState = SAI_OUTPUT_NOTRELEASED;
  if (HAL_SAI_InitProtocol(&hsai_BlockA1, SAI_I2S_STANDARD, SAI_PROTOCOL_DATASIZE_24BIT, 2) != HAL_OK)
  {
    Error_Handler();
  }
  hsai_BlockB1.Instance = SAI1_Block_B;
  hsai_BlockB1.Init.AudioMode = SAI_MODESLAVE_TX;
  hsai_BlockB1.Init.Synchro = SAI_SYNCHRONOUS;
  hsai_BlockB1.Init.OutputDrive = SAI_OUTPUTDRIVE_DISABLE;
  hsai_BlockB1.Init.FIFOThreshold = SAI_FIFOTHRESHOLD_1QF;
  hsai_BlockB1.Init.SynchroExt = SAI_SYNCEXT_OUTBLOCKA_ENABLE;
  hsai_BlockB1.Init.MonoStereoMode = SAI_STEREOMODE;
  hsai_BlockB1.Init.CompandingMode = SAI_NOCOMPANDING;
  hsai_BlockB1.Init.TriState = SAI_OUTPUT_NOTRELEASED;
  if (HAL_SAI_InitProtocol(&hsai_BlockB1, SAI_I2S_STANDARD, SAI_PROTOCOL_DATASIZE_24BIT, 2) != HAL_OK)
  {
    Error_Handler();
  }

}

static void MX_SAI2_Init(void)
{

  hsai_BlockA2.Instance = SAI2_Block_A;
  hsai_BlockA2.Init.AudioMode = SAI_MODESLAVE_TX;
  hsai_BlockA2.Init.Synchro = SAI_SYNCHRONOUS_EXT_SAI1;
  hsai_BlockA2.Init.OutputDrive = SAI_OUTPUTDRIVE_DISABLE;
  hsai_BlockA2.Init.FIFOThreshold = SAI_FIFOTHRESHOLD_1QF;
  hsai_BlockA2.Init.MonoStereoMode = SAI_STEREOMODE;
  hsai_BlockA2.Init.CompandingMode = SAI_NOCOMPANDING;
  hsai_BlockA2.Init.TriState = SAI_OUTPUT_NOTRELEASED;
  if (HAL_SAI_InitProtocol(&hsai_BlockA2, SAI_I2S_STANDARD, SAI_PROTOCOL_DATASIZE_24BIT, 2) != HAL_OK)
  {
    Error_Handler();
  }

}

static void MX_SPI1_Init(void)
{

  /* SPI1 parameter configuration*/
  hspi1.Instance = SPI1;
  hspi1.Init.Mode = SPI_MODE_MASTER;
  hspi1.Init.Direction = SPI_DIRECTION_2LINES;
  hspi1.Init.DataSize = SPI_DATASIZE_8BIT;
  hspi1.Init.CLKPolarity = SPI_POLARITY_LOW;
  hspi1.Init.CLKPhase = SPI_PHASE_1EDGE;
  hspi1.Init.NSS = SPI_NSS_SOFT;
  hspi1.Init.BaudRatePrescaler = SPI_BAUDRATEPRESCALER_2;
  hspi1.Init.FirstBit = SPI_FIRSTBIT_MSB;
  hspi1.Init.TIMode = SPI_TIMODE_DISABLE;
  hspi1.Init.CRCCalculation = SPI_CRCCALCULATION_DISABLE;
  hspi1.Init.CRCPolynomial = 0x0;
  hspi1.Init.NSSPMode = SPI_NSS_PULSE_ENABLE;
  hspi1.Init.NSSPolarity = SPI_NSS_POLARITY_LOW;
  hspi1.Init.FifoThreshold = SPI_FIFO_THRESHOLD_01DATA;
  hspi1.Init.TxCRCInitializationPattern = SPI_CRC_INITIALIZATION_ALL_ZERO_PATTERN;
  hspi1.Init.RxCRCInitializationPattern = SPI_CRC_INITIALIZATION_ALL_ZERO_PATTERN;
  hspi1.Init.MasterSSIdleness = SPI_MASTER_SS_IDLENESS_00CYCLE;
  hspi1.Init.MasterInterDataIdleness = SPI_MASTER_INTERDATA_IDLENESS_00CYCLE;
  hspi1.Init.MasterReceiverAutoSusp = SPI_MASTER_RX_AUTOSUSP_DISABLE;
  hspi1.Init.MasterKeepIOState = SPI_MASTER_KEEP_IO_STATE_DISABLE;
  hspi1.Init.IOSwap = SPI_IO_SWAP_DISABLE;
  if (HAL_SPI_Init(&hspi1) != HAL_OK)
  {
    Error_Handler();
  }

}

static void MX_SPI2_Init(void)
{

  /* SPI2 parameter configuration*/
  hspi2.Instance = SPI2;
  hspi2.Init.Mode = SPI_MODE_MASTER;
  hspi2.Init.Direction = SPI_DIRECTION_2LINES;
  hspi2.Init.DataSize = SPI_DATASIZE_8BIT;
  hspi2.Init.CLKPolarity = SPI_POLARITY_LOW;
  hspi2.Init.CLKPhase = SPI_PHASE_2EDGE;
  hspi2.Init.NSS = SPI_NSS_SOFT;
  hspi2.Init.BaudRatePrescaler = SPI_BAUDRATEPRESCALER_4;
  hspi2.Init.FirstBit = SPI_FIRSTBIT_MSB;
  hspi2.Init.TIMode = SPI_TIMODE_DISABLE;
  hspi2.Init.CRCCalculation = SPI_CRCCALCULATION_DISABLE;
  hspi2.Init.CRCPolynomial = 0x0;
  hspi2.Init.NSSPMode = SPI_NSS_PULSE_DISABLE;
  hspi2.Init.NSSPolarity = SPI_NSS_POLARITY_LOW;
  hspi2.Init.FifoThreshold = SPI_FIFO_THRESHOLD_01DATA;
  hspi2.Init.TxCRCInitializationPattern = SPI_CRC_INITIALIZATION_ALL_ZERO_PATTERN;
  hspi2.Init.RxCRCInitializationPattern = SPI_CRC_INITIALIZATION_ALL_ZERO_PATTERN;
  hspi2.Init.MasterSSIdleness = SPI_MASTER_SS_IDLENESS_00CYCLE;
  hspi2.Init.MasterInterDataIdleness = SPI_MASTER_INTERDATA_IDLENESS_00CYCLE;
  hspi2.Init.MasterReceiverAutoSusp = SPI_MASTER_RX_AUTOSUSP_DISABLE;
  hspi2.Init.MasterKeepIOState = SPI_MASTER_KEEP_IO_STATE_DISABLE;
  hspi2.Init.IOSwap = SPI_IO_SWAP_DISABLE;
  if (HAL_SPI_Init(&hspi2) != HAL_OK)
  {
    Error_Handler();
  }

}

static void MX_TIM1_Init(void)
{

  TIM_MasterConfigTypeDef sMasterConfig = {0};
  TIM_OC_InitTypeDef sConfigOC = {0};
  TIM_BreakDeadTimeConfigTypeDef sBreakDeadTimeConfig = {0};

  htim1.Instance = TIM1;
  htim1.Init.Prescaler = 240;
  htim1.Init.CounterMode = TIM_COUNTERMODE_UP;
  htim1.Init.Period = 100;
  htim1.Init.ClockDivision = TIM_CLOCKDIVISION_DIV1;
  htim1.Init.RepetitionCounter = 0;
  htim1.Init.AutoReloadPreload = TIM_AUTORELOAD_PRELOAD_DISABLE;
  if (HAL_TIM_PWM_Init(&htim1) != HAL_OK)
  {
    Error_Handler();
  }
  sMasterConfig.MasterOutputTrigger = TIM_TRGO_RESET;
  sMasterConfig.MasterOutputTrigger2 = TIM_TRGO2_RESET;
  sMasterConfig.MasterSlaveMode = TIM_MASTERSLAVEMODE_DISABLE;
  if (HAL_TIMEx_MasterConfigSynchronization(&htim1, &sMasterConfig) != HAL_OK)
  {
    Error_Handler();
  }
  sConfigOC.OCMode = TIM_OCMODE_PWM1;
  sConfigOC.Pulse = 50;
  sConfigOC.OCPolarity = TIM_OCPOLARITY_HIGH;
  sConfigOC.OCNPolarity = TIM_OCNPOLARITY_HIGH;
  sConfigOC.OCFastMode = TIM_OCFAST_DISABLE;
  sConfigOC.OCIdleState = TIM_OCIDLESTATE_RESET;
  sConfigOC.OCNIdleState = TIM_OCNIDLESTATE_RESET;
  if (HAL_TIM_PWM_ConfigChannel(&htim1, &sConfigOC, TIM_CHANNEL_2) != HAL_OK)
  {
    Error_Handler();
  }
  sBreakDeadTimeConfig.OffStateRunMode = TIM_OSSR_DISABLE;
  sBreakDeadTimeConfig.OffStateIDLEMode = TIM_OSSI_DISABLE;
  sBreakDeadTimeConfig.LockLevel = TIM_LOCKLEVEL_OFF;
  sBreakDeadTimeConfig.DeadTime = 0;
  sBreakDeadTimeConfig.BreakState = TIM_BREAK_DISABLE;
  sBreakDeadTimeConfig.BreakPolarity = TIM_BREAKPOLARITY_HIGH;
  sBreakDeadTimeConfig.BreakFilter = 0;
  sBreakDeadTimeConfig.Break2State = TIM_BREAK2_DISABLE;
  sBreakDeadTimeConfig.Break2Polarity = TIM_BREAK2POLARITY_HIGH;
  sBreakDeadTimeConfig.Break2Filter = 0;
  sBreakDeadTimeConfig.AutomaticOutput = TIM_AUTOMATICOUTPUT_DISABLE;
  if (HAL_TIMEx_ConfigBreakDeadTime(&htim1, &sBreakDeadTimeConfig) != HAL_OK)
  {
    Error_Handler();
  }
  HAL_TIM_MspPostInit(&htim1);

}

static void MX_USART1_UART_Init(void)
{

  huart1.Instance = USART1;
  huart1.Init.BaudRate = 31250;
  huart1.Init.WordLength = UART_WORDLENGTH_8B;
  huart1.Init.StopBits = UART_STOPBITS_1;
  huart1.Init.Parity = UART_PARITY_NONE;
  huart1.Init.Mode = UART_MODE_TX_RX;
  huart1.Init.HwFlowCtl = UART_HWCONTROL_NONE;
  huart1.Init.OverSampling = UART_OVERSAMPLING_16;
  huart1.Init.OneBitSampling = UART_ONE_BIT_SAMPLE_DISABLE;
  huart1.Init.ClockPrescaler = UART_PRESCALER_DIV1;
  huart1.AdvancedInit.AdvFeatureInit = UART_ADVFEATURE_RXOVERRUNDISABLE_INIT|UART_ADVFEATURE_DMADISABLEONERROR_INIT;
  huart1.AdvancedInit.OverrunDisable = UART_ADVFEATURE_OVERRUN_DISABLE;
  huart1.AdvancedInit.DMADisableonRxError = UART_ADVFEATURE_DMA_DISABLEONRXERROR;
  if (HAL_UART_Init(&huart1) != HAL_OK)
  {
    Error_Handler();
  }
  if (HAL_UARTEx_SetTxFifoThreshold(&huart1, UART_TXFIFO_THRESHOLD_1_8) != HAL_OK)
  {
    Error_Handler();
  }
  if (HAL_UARTEx_SetRxFifoThreshold(&huart1, UART_RXFIFO_THRESHOLD_1_8) != HAL_OK)
  {
    Error_Handler();
  }
  if (HAL_UARTEx_DisableFifoMode(&huart1) != HAL_OK)
  {
    Error_Handler();
  }

}

static void MX_USB_OTG_FS_PCD_Init(void)
{

  /* USER CODE BEGIN USB_OTG_FS_Init 0 */
#if 0
  /* USER CODE END USB_OTG_FS_Init 0 */

  hpcd_USB_OTG_FS.Instance = USB_OTG_FS;
  hpcd_USB_OTG_FS.Init.dev_endpoints = 9;
  hpcd_USB_OTG_FS.Init.speed = PCD_SPEED_FULL;
  hpcd_USB_OTG_FS.Init.dma_enable = DISABLE;
  hpcd_USB_OTG_FS.Init.phy_itface = PCD_PHY_EMBEDDED;
  hpcd_USB_OTG_FS.Init.Sof_enable = DISABLE;
  hpcd_USB_OTG_FS.Init.low_power_enable = DISABLE;
  hpcd_USB_OTG_FS.Init.lpm_enable = DISABLE;
  hpcd_USB_OTG_FS.Init.battery_charging_enable = DISABLE;
  hpcd_USB_OTG_FS.Init.vbus_sensing_enable = DISABLE;
  hpcd_USB_OTG_FS.Init.use_dedicated_ep1 = DISABLE;
  if (HAL_PCD_Init(&hpcd_USB_OTG_FS) != HAL_OK)
  {
    Error_Handler();
  }
  /* USER CODE BEGIN USB_OTG_FS_Init 2 */
#endif
  /* USER CODE END USB_OTG_FS_Init 2 */

}

static void MX_DMA_Init(void)
{

  /* DMA controller clock enable */
  __HAL_RCC_DMA2_CLK_ENABLE();
  __HAL_RCC_DMA1_CLK_ENABLE();

  /* DMA interrupt init */
  /* DMA1_Stream0_IRQn interrupt configuration */
  HAL_NVIC_SetPriority(DMA1_Stream0_IRQn, 5, 0);
  HAL_NVIC_EnableIRQ(DMA1_Stream0_IRQn);
  /* DMA1_Stream1_IRQn interrupt configuration */
  HAL_NVIC_SetPriority(DMA1_Stream1_IRQn, 5, 0);
  HAL_NVIC_EnableIRQ(DMA1_Stream1_IRQn);
  /* DMA1_Stream2_IRQn interrupt configuration */
  HAL_NVIC_SetPriority(DMA1_Stream2_IRQn, 5, 0);
  HAL_NVIC_EnableIRQ(DMA1_Stream2_IRQn);
  /* DMA1_Stream3_IRQn interrupt configuration */
  HAL_NVIC_SetPriority(DMA1_Stream3_IRQn, 5, 0);
  HAL_NVIC_EnableIRQ(DMA1_Stream3_IRQn);
  /* DMA1_Stream4_IRQn interrupt configuration */
  HAL_NVIC_SetPriority(DMA1_Stream4_IRQn, 5, 0);
  HAL_NVIC_EnableIRQ(DMA1_Stream4_IRQn);
  /* DMA2_Stream0_IRQn interrupt configuration */
  HAL_NVIC_SetPriority(DMA2_Stream0_IRQn, 5, 0);
  HAL_NVIC_EnableIRQ(DMA2_Stream0_IRQn);

}

/**
  * Enable MDMA controller clock
  * Configure MDMA for global transfers
  *   hmdma_mdma_channel40_sw_0
  */
static void MX_MDMA_Init(void)
{

  /* MDMA controller clock enable */
  __HAL_RCC_MDMA_CLK_ENABLE();
  /* Local variables */

  /* Configure MDMA channel MDMA_Channel0 */
  /* Configure MDMA request hmdma_mdma_channel40_sw_0 on MDMA_Channel0 */
  hmdma_mdma_channel40_sw_0.Instance = MDMA_Channel0;
  hmdma_mdma_channel40_sw_0.Init.Request = MDMA_REQUEST_SW;
  hmdma_mdma_channel40_sw_0.Init.TransferTriggerMode = MDMA_BUFFER_TRANSFER;
  hmdma_mdma_channel40_sw_0.Init.Priority = MDMA_PRIORITY_LOW;
  hmdma_mdma_channel40_sw_0.Init.Endianness = MDMA_LITTLE_ENDIANNESS_PRESERVE;
  hmdma_mdma_channel40_sw_0.Init.SourceInc = MDMA_SRC_INC_BYTE;
  hmdma_mdma_channel40_sw_0.Init.DestinationInc = MDMA_DEST_INC_BYTE;
  hmdma_mdma_channel40_sw_0.Init.SourceDataSize = MDMA_SRC_DATASIZE_BYTE;
  hmdma_mdma_channel40_sw_0.Init.DestDataSize = MDMA_DEST_DATASIZE_BYTE;
  hmdma_mdma_channel40_sw_0.Init.DataAlignment = MDMA_DATAALIGN_PACKENABLE;
  hmdma_mdma_channel40_sw_0.Init.BufferTransferLength = 1;
  hmdma_mdma_channel40_sw_0.Init.SourceBurst = MDMA_SOURCE_BURST_SINGLE;
  hmdma_mdma_channel40_sw_0.Init.DestBurst = MDMA_DEST_BURST_SINGLE;
  hmdma_mdma_channel40_sw_0.Init.SourceBlockAddressOffset = 0;
  hmdma_mdma_channel40_sw_0.Init.DestBlockAddressOffset = 0;
  if (HAL_MDMA_Init(&hmdma_mdma_channel40_sw_0) != HAL_OK)
  {
    Error_Handler();
  }

}

static void MX_GPIO_Init(void)
{
  GPIO_InitTypeDef GPIO_InitStruct = {0};

  /* GPIO Ports Clock Enable */
  __HAL_RCC_GPIOE_CLK_ENABLE();
  __HAL_RCC_GPIOF_CLK_ENABLE();
  __HAL_RCC_GPIOH_CLK_ENABLE();
  __HAL_RCC_GPIOA_CLK_ENABLE();
  __HAL_RCC_GPIOB_CLK_ENABLE();
  __HAL_RCC_GPIOD_CLK_ENABLE();

  /*Configure GPIO pin Output Level */
  HAL_GPIO_WritePin(GPIOF, HC165_CLK_Pin|HC165_LOAD_Pin, GPIO_PIN_RESET);

  /*Configure GPIO pin Output Level */
  HAL_GPIO_WritePin(GPIOB, LED_CONTROL_Pin|BACKLIGHT1_Pin, GPIO_PIN_RESET);

  /*Configure GPIO pin Output Level */
  HAL_GPIO_WritePin(GPIOE, SD_CS_Pin|LED_TEST_Pin, GPIO_PIN_RESET);

  /*Configure GPIO pin Output Level */
  HAL_GPIO_WritePin(GPIOD, OLED_DC_Pin|OLED_CS_Pin, GPIO_PIN_RESET);

  /*Configure GPIO pin Output Level */
  HAL_GPIO_WritePin(OLED_RST_GPIO_Port, OLED_RST_Pin, GPIO_PIN_SET);

  /*Configure GPIO pins : HC165_CLK_Pin HC165_LOAD_Pin */
  GPIO_InitStruct.Pin = HC165_CLK_Pin|HC165_LOAD_Pin;
  GPIO_InitStruct.Mode = GPIO_MODE_OUTPUT_PP;
  GPIO_InitStruct.Pull = GPIO_NOPULL;
  GPIO_InitStruct.Speed = GPIO_SPEED_FREQ_MEDIUM;
  HAL_GPIO_Init(GPIOF, &GPIO_InitStruct);

  /*Configure GPIO pin : HC165_DATA_Pin */
  GPIO_InitStruct.Pin = HC165_DATA_Pin;
  GPIO_InitStruct.Mode = GPIO_MODE_INPUT;
  GPIO_InitStruct.Pull = GPIO_NOPULL;
  HAL_GPIO_Init(HC165_DATA_GPIO_Port, &GPIO_InitStruct);

  /*Configure GPIO pins : LED_CONTROL_Pin BACKLIGHT1_Pin */
  GPIO_InitStruct.Pin = LED_CONTROL_Pin|BACKLIGHT1_Pin;
  GPIO_InitStruct.Mode = GPIO_MODE_OUTPUT_PP;
  GPIO_InitStruct.Pull = GPIO_NOPULL;
  GPIO_InitStruct.Speed = GPIO_SPEED_FREQ_LOW;
  HAL_GPIO_Init(GPIOB, &GPIO_InitStruct);

  /*Configure GPIO pins : SD_CS_Pin LED_TEST_Pin */
  GPIO_InitStruct.Pin = SD_CS_Pin|LED_TEST_Pin;
  GPIO_InitStruct.Mode = GPIO_MODE_OUTPUT_PP;
  GPIO_InitStruct.Pull = GPIO_NOPULL;
  GPIO_InitStruct.Speed = GPIO_SPEED_FREQ_VERY_HIGH;
  HAL_GPIO_Init(GPIOE, &GPIO_InitStruct);

  /*Configure GPIO pins : OLED_DC_Pin OLED_RST_Pin OLED_CS_Pin */
  GPIO_InitStruct.Pin = OLED_DC_Pin|OLED_RST_Pin|OLED_CS_Pin;
  GPIO_InitStruct.Mode = GPIO_MODE_OUTPUT_PP;
  GPIO_InitStruct.Pull = GPIO_NOPULL;
  GPIO_InitStruct.Speed = GPIO_SPEED_FREQ_MEDIUM;
  HAL_GPIO_Init(GPIOD, &GPIO_InitStruct);

}

void StartDefaultTask(void const * argument)
{
  /* USER CODE BEGIN 5 */
  /* init code for USB_DEVICE */
  MX_USB_DEVICE_Init();

  setup();

  /* Infinite loop */
  for(;;)
  {
    loop();
  }
  /* USER CODE END 5 */
}
void Error_Handler(void)
{
  /* USER CODE BEGIN Error_Handler_Debug */
#ifdef DEBUG
  __asm__("BKPT");
#else
  NVIC_SystemReset();
#endif
  /* USER CODE END Error_Handler_Debug */
}

#ifdef  USE_FULL_ASSERT
/**
  * @brief  Reports the name of the source file and the source line number
  *         where the assert_param error has occurred.
  * @param  file: pointer to the source file name
  * @param  line: assert_param error line source number
  * @retval None
  */
void assert_failed(uint8_t *file, uint32_t line)
{
  /* USER CODE BEGIN 6 */
#ifdef DEBUG
  __asm__("BKPT");
#else
  NVIC_SystemReset();
#endif
  /* USER CODE END 6 */
}
#endif /* USE_FULL_ASSERT */

/************************ (C) COPYRIGHT STMicroelectronics *****END OF FILE****/
